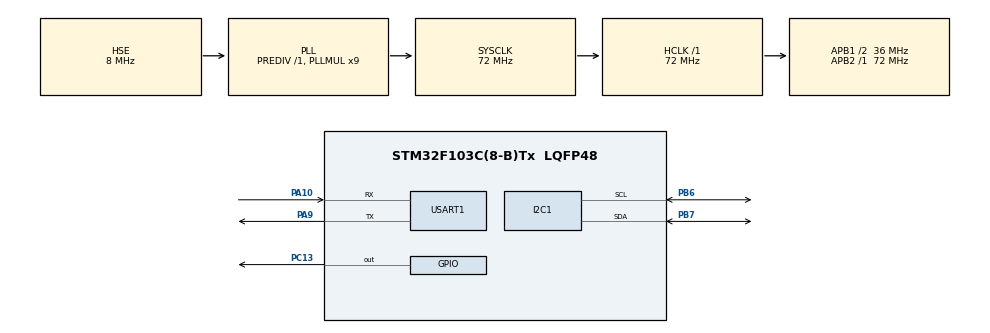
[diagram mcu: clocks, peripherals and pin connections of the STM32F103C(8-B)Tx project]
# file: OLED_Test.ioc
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Dma.Request0=USART1_RX
Dma.Request1=USART1_TX
Dma.USART1_RX.0.Direction=DMA_PERIPH_TO_MEMORY
Dma.USART1_RX.0.Instance=DMA1_Channel5
Dma.USART1_RX.0.MemDataAlignment=DMA_MDATAALIGN_BYTE
Dma.USART1_RX.0.MemInc=DMA_MINC_ENABLE
Dma.USART1_RX.0.Mode=DMA_CIRCULAR
Dma.USART1_RX.0.PeriphDataAlignment=DMA_PDATAALIGN_BYTE
Dma.USART1_RX.0.PeriphInc=DMA_PINC_DISABLE
Dma.USART1_RX.0.Priority=DMA_PRIORITY_LOW
Dma.USART1_TX.1.Direction=DMA_MEMORY_TO_PERIPH
Dma.USART1_TX.1.Instance=DMA1_Channel4
Dma.USART1_TX.1.MemDataAlignment=DMA_MDATAALIGN_BYTE
Dma.USART1_TX.1.MemInc=DMA_MINC_ENABLE
Dma.USART1_TX.1.Mode=DMA_NORMAL
Dma.USART1_TX.1.PeriphDataAlignment=DMA_PDATAALIGN_BYTE
Dma.USART1_TX.1.PeriphInc=DMA_PINC_DISABLE
Dma.USART1_TX.1.Priority=DMA_PRIORITY_LOW
I2C1.I2C_Mode=I2C_Fast
Mcu.Family=STM32F1
Mcu.Name=STM32F103C(8-B)Tx
Mcu.Package=LQFP48
NVIC.DMA1_Channel4_IRQn=true\:0\:0\:false\:false\:true\:false\:true\:true
NVIC.DMA1_Channel5_IRQn=true\:0\:0\:false\:false\:true\:false\:true\:true
NVIC.PriorityGroup=NVIC_PRIORITYGROUP_4
NVIC.USART1_IRQn=true\:0\:0\:false\:false\:true\:true\:true\:true
PA10.Mode=Asynchronous
PA10.Signal=USART1_RX
PA13.Mode=Serial_Wire
PA13.Signal=SYS_JTMS-SWDIO
PA14.Mode=Serial_Wire
PA14.Signal=SYS_JTCK-SWCLK
PA9.Mode=Asynchronous
PA9.Signal=USART1_TX
PB6.Mode=I2C
PB6.Signal=I2C1_SCL
PB7.Mode=I2C
PB7.Signal=I2C1_SDA
PC13-TAMPER-RTC.Signal=GPIO_Output
PC14-OSC32_IN.Mode=LSE-External-Oscillator
PC14-OSC32_IN.Signal=RCC_OSC32_IN
PC15-OSC32_OUT.Mode=LSE-External-Oscillator
PC15-OSC32_OUT.Signal=RCC_OSC32_OUT
PD0-OSC_IN.Mode=HSE-External-Oscillator
PD0-OSC_IN.Signal=RCC_OSC_IN
PD1-OSC_OUT.Mode=HSE-External-Oscillator
PD1-OSC_OUT.Signal=RCC_OSC_OUT
ProjectManager.HeapSize=0x200
ProjectManager.StackSize=0x400
ProjectManager.TargetToolchain=MDK-ARM V5.32
RCC.AHBFreq_Value=72000000
RCC.APB1CLKDivider=RCC_HCLK_DIV2
RCC.APB1Freq_Value=36000000
RCC.APB1TimFreq_Value=72000000
RCC.APB2Freq_Value=72000000
RCC.APB2TimFreq_Value=72000000
RCC.HCLKFreq_Value=72000000
RCC.PLLMUL=RCC_PLL_MUL9
RCC.PLLSourceVirtual=RCC_PLLSOURCE_HSE
RCC.SYSCLKFreq_VALUE=72000000
RCC.SYSCLKSource=RCC_SYSCLKSOURCE_PLLCLK
RCC.USBFreq_Value=72000000
USART1.VirtualMode=VM_ASYNC
board=custom

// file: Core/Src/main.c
/* USER CODE BEGIN Header */
/**
  ******************************************************************************
  * @file           : main.c
  * @brief          : Main program body
  ******************************************************************************
  * @attention
  *
  * Copyright (c) 2025 STMicroelectronics.
  * All rights reserved.
  *
  * This software is licensed under terms that can be found in the LICENSE file
  * in the root directory of this software component.
  * If no LICENSE file comes with this software, it is provided AS-IS.
  *
  ******************************************************************************
  */
/* USER CODE END Header */
#include "main.h"
#include "dma.h"
#include "i2c.h"
#include "usart.h"
#include "gpio.h"

/* USER CODE BEGIN Includes */

#include "oled.h"
#define OLED_WIDTH_  84  // 宽度
#define OLED_HEIGHT_ 63  // 高度
#define OLED_PAGES  8  // 8行每页

uint8_t rx_flag = 0;

uint8_t img[OLED_WIDTH_ * OLED_PAGES] = {0};

/* USER CODE END Includes */

void SystemClock_Config(void);

int main(void)
{

  /* MCU Configuration--------------------------------------------------------*/

  /* Reset of all peripherals, Initializes the Flash interface and the Systick. */
  HAL_Init();

  /* Configure the system clock */
  SystemClock_Config();

  /* Initialize all configured peripherals */
  MX_GPIO_Init();
  MX_DMA_Init();
  MX_I2C1_Init();
  MX_USART1_UART_Init();
  /* USER CODE BEGIN 2 */
	OLED_Init();
//  OLED_All_Lit();
//	HAL_Delay(1000);
//	OLED_Clear();
//	HAL_Delay(1000);
//	OLED_Show_Image(img, 84);

    __HAL_UART_ENABLE_IT(&huart1, UART_IT_IDLE);

    // 开启DMA接收
    HAL_UART_Receive_DMA(&huart1,
		 img,
		 OLED_WIDTH_ * OLED_PAGES);

  /* USER CODE END 2 */

  /* Infinite loop */
  /* USER CODE BEGIN WHILE */
  while (1)
  {
		if(rx_flag){
			HAL_UART_Receive_DMA(&huart1,
			img,
			OLED_WIDTH_ * OLED_PAGES);
			OLED_Show_Image(img, 84);
			rx_flag = 0;
		}
    /* USER CODE END WHILE */

  }
}

void SystemClock_Config(void)
{
  RCC_OscInitTypeDef RCC_OscInitStruct = {0};
  RCC_ClkInitTypeDef RCC_ClkInitStruct = {0};

  /** Initializes the RCC Oscillators according to the specified parameters
  * in the RCC_OscInitTypeDef structure.
  */
  RCC_OscInitStruct.OscillatorType = RCC_OSCILLATORTYPE_HSE;
  RCC_OscInitStruct.HSEState = RCC_HSE_ON;
  RCC_OscInitStruct.HSEPredivValue = RCC_HSE_PREDIV_DIV1;
  RCC_OscInitStruct.HSIState = RCC_HSI_ON;
  RCC_OscInitStruct.PLL.PLLState = RCC_PLL_ON;
  RCC_OscInitStruct.PLL.PLLSource = RCC_PLLSOURCE_HSE;
  RCC_OscInitStruct.PLL.PLLMUL = RCC_PLL_MUL9;
  if (HAL_RCC_OscConfig(&RCC_OscInitStruct) != HAL_OK)
  {
    Error_Handler();
  }

  /** Initializes the CPU, AHB and APB buses clocks
  */
  RCC_ClkInitStruct.ClockType = RCC_CLOCKTYPE_HCLK|RCC_CLOCKTYPE_SYSCLK
                              |RCC_CLOCKTYPE_PCLK1|RCC_CLOCKTYPE_PCLK2;
  RCC_ClkInitStruct.SYSCLKSource = RCC_SYSCLKSOURCE_PLLCLK;
  RCC_ClkInitStruct.AHBCLKDivider = RCC_SYSCLK_DIV1;
  RCC_ClkInitStruct.APB1CLKDivider = RCC_HCLK_DIV2;
  RCC_ClkInitStruct.APB2CLKDivider = RCC_HCLK_DIV1;

  if (HAL_RCC_ClockConfig(&RCC_ClkInitStruct, FLASH_LATENCY_2) != HAL_OK)
  {
    Error_Handler();
  }
}

void Error_Handler(void)
{
  __disable_irq();
  while (1)
  {
  }
}
